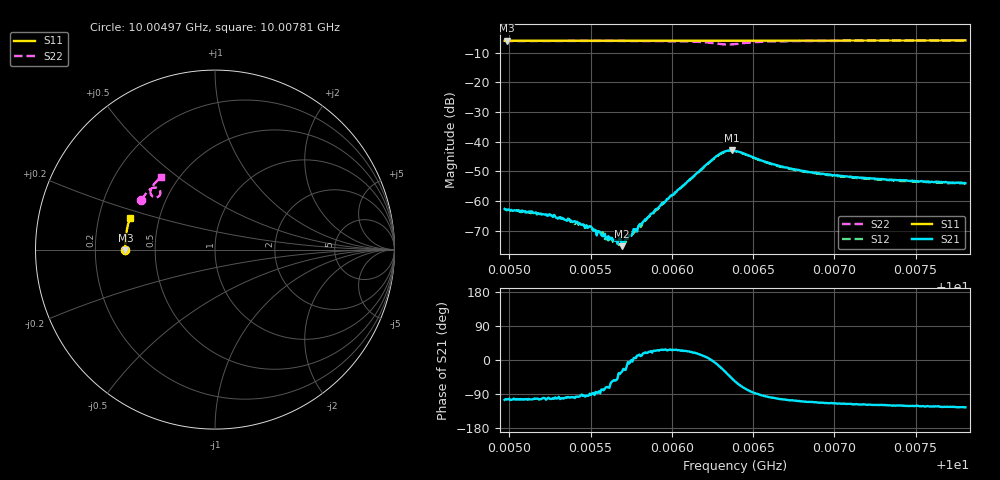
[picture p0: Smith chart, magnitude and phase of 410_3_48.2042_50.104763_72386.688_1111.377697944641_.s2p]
#  HZ  S  RI  R  50.00
! Rohde & Schwarz Vector Network Analyzer
! Rohde-Schwarz,ZNB20-2Port,1311601062101988,3.16
! Created: UTC 3/20/2024, 11:54:30 AM
! freq[Hz]  re:S11  im:S11  re:S21  im:S21  re:S12  im:S12  re:S22  im:S22
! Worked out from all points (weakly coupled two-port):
!   401 points, 10.00497 GHz to 10.00781 GHz, reference 50 ohm
!   highest |S21| = -42.89 dB at 10.00637 GHz (marker M1); lowest = -75.1 dB at 10.00569 GHz (marker M2)
!   lowest |S11| = -6.0 dB at 10.00498 GHz (marker M3), VSWR 3.00, Z = 16.7 - j0.147 ohm
!   |S11| at or under -10 dB: nowhere
!   |S22| runs from -7.3 to -6.0 dB; largest |S21 - S12| = 0.00043
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1.0004971e10  -0.4995 -0.00427  -0.000195 -0.000716  -0.000151 -0.000719  -0.4104 0.2757
1.0004985e10  -0.4995 -0.0033  -0.000177 -0.0007  -0.000147 -0.000685  -0.41 0.2767
1.0005261e10  -0.5 0.0147  -0.000124 -0.00056  -0.00011 -0.000559  -0.3996 0.2928
1.0005446e10  -0.4999 0.0265  -7.61e-06 -0.000402  -1.55e-05 -0.000424  -0.3918 0.3038
1.0005502e10  -0.4997 0.0304  -1.15e-05 -0.000372  -1.64e-06 -0.000357  -0.3891 0.3074
1.0005524e10  -0.4997 0.0318  -1.31e-05 -0.000318  3.22e-05 -0.000333  -0.3882 0.3086
1.0005559e10  -0.4996 0.0339  1.27e-05 -0.000297  5.26e-05 -0.000299  -0.3864 0.3107
1.0005595e10  -0.4995 0.0362  7.09e-05 -0.000217  5.57e-05 -0.000228  -0.3848 0.3129
1.0005644e10  -0.4994 0.0396  0.000136 -0.000179  0.000157 -0.000166  -0.3822 0.316
1.000568e10  -0.4993 0.0418  0.000192 -0.000144  0.000138 -0.000124  -0.3802 0.3183
1.0005694e10  -0.4992 0.0427  0.000151 -8.93e-05  0.000163 -9.05e-05  -0.3796 0.319
1.0005708e10  -0.4992 0.0436  0.000191 -9.21e-05  0.000206 -9.1e-05  -0.3788 0.32
1.0005807e10  -0.4987 0.0501  0.000407 7.44e-05  0.000356 9.21e-05  -0.3728 0.3262
1.0005921e10  -0.4982 0.0574  0.000727 0.000332  0.000696 0.000358  -0.3646 0.3338
1.0006261e10  -0.4955 0.0793  0.00536 -0.00051  0.00526 -0.000232  -0.309 0.3319
1.0006318e10  -0.4947 0.0826  0.006 -0.003  0.00602 -0.00265  -0.3056 0.3094
1.0006367e10  -0.4943 0.0857  0.0048 -0.00532  0.00497 -0.00495  -0.3201 0.2928
1.0006389e10  -0.4943 0.0869  0.0039 -0.00588  0.00414 -0.00553  -0.3287 0.2905
1.0006665e10  -0.4919 0.1046  -0.000877 -0.00381  -0.000672 -0.00376  -0.3576 0.3338
1.0006863e10  -0.4896 0.1172  -0.0011 -0.00286  -0.000954 -0.00283  -0.3486 0.3524
1.0007338e10  -0.4825 0.1471  -0.00114 -0.00201  -0.00102 -0.002  -0.3248 0.3812
1.0007806e10  -0.4737 0.1758  -0.00115 -0.00165  -0.00104 -0.0017  -0.3009 0.4032
